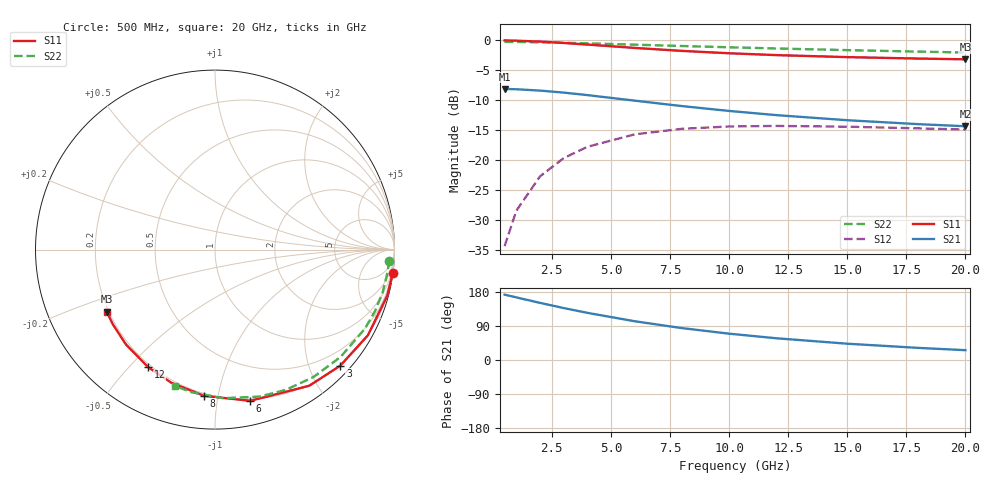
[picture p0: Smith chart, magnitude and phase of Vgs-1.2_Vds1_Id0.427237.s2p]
# Hz S RI R 50
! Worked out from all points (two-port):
!   12 points, 500 MHz to 20 GHz, reference 50 ohm
!   highest |S21| = -8.10 dB at 500 MHz (marker M1); lowest = -14.3 dB at 20 GHz (marker M2)
!   |S21| within 3 dB of the highest: start of sweep to 8.336 GHz
!   lowest |S11| = -3.2 dB at 20 GHz (marker M3), VSWR 5.55, Z = 9.63 - j12.9 ohm
!   |S11| at or under -10 dB: nowhere
!   |S22| runs from -2.0 to -0.2 dB; largest |S21 - S12| = 0.39
!   S11 on the Smith chart (normalised r, x): 500 MHz: 0, -15; 3 GHz: 0.19, -2.54; 6 GHz: 0.19, -1.24; 8 GHz: 0.19, -0.91; 12 GHz: 0.19, -0.57; 20 GHz: 0.19, -0.26
5e8  0.99 -0.1296  -0.3902 0.051  0.00185 0.0191  0.9698 -0.061
1e9  0.9606 -0.2549  -0.3779 0.1002  0.00727 0.0373  0.9625 -0.1213
2e9  0.852 -0.4773  -0.3324 0.1863  0.0271 0.0682  0.9343 -0.2375
3e9  0.6981 -0.6466  -0.2685 0.2495  0.0546 0.0886  0.8907 -0.3446
4e9  0.5251 -0.7587  -0.1976 0.2883  0.0845 0.098  0.835 -0.4408
6e9  0.1965 -0.8424  -0.0672 0.307  0.1368 0.091  0.7005 -0.5973
8e9  -0.0604 -0.8149  0.0285 0.2816  0.1705 0.0663  0.5498 -0.7092
1e10  -0.2439 -0.7415  0.0905 0.2414  0.1874 0.0377  0.3963 -0.7809
1.2e10  -0.3722 -0.6552  0.1283 0.2003  0.1929 0.0116  0.2478 -0.8192
1.5e10  -0.4964 -0.5282  0.1577 0.1471  0.1894 -0.0193  0.0453 -0.8279
1.8e10  -0.5704 -0.4145  0.1697 0.1059  0.1799 -0.0409  -0.1261 -0.7959
2e10  -0.6022 -0.3466  0.1728 0.084  0.1726 -0.0513  -0.2227 -0.7601
